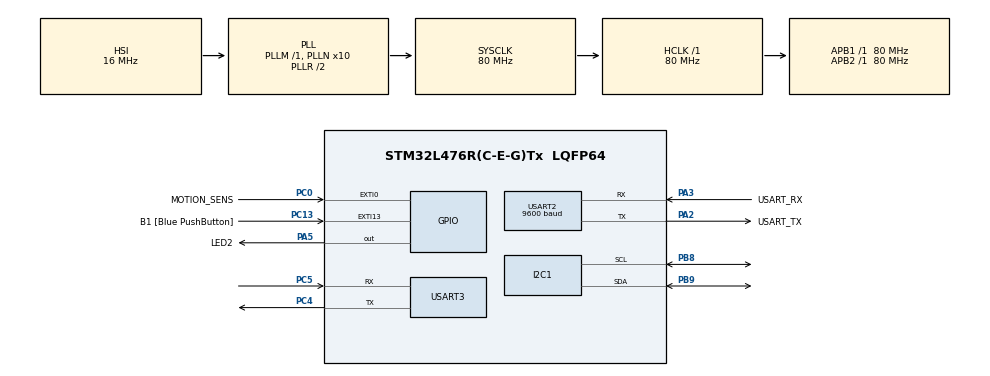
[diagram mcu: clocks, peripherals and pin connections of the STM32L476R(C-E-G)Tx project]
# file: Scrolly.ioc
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Dma.Request0=USART3_RX
Dma.USART3_RX.0.Direction=DMA_PERIPH_TO_MEMORY
Dma.USART3_RX.0.Instance=DMA1_Channel3
Dma.USART3_RX.0.MemDataAlignment=DMA_MDATAALIGN_BYTE
Dma.USART3_RX.0.MemInc=DMA_MINC_ENABLE
Dma.USART3_RX.0.Mode=DMA_NORMAL
Dma.USART3_RX.0.PeriphDataAlignment=DMA_PDATAALIGN_BYTE
Dma.USART3_RX.0.PeriphInc=DMA_PINC_DISABLE
Dma.USART3_RX.0.Priority=DMA_PRIORITY_LOW
I2C1.Timing=0x10D19CE4
Mcu.Family=STM32L4
Mcu.Name=STM32L476R(C-E-G)Tx
Mcu.Package=LQFP64
NVIC.DMA1_Channel3_IRQn=true\:0\:0\:false\:false\:true\:false\:true\:true
NVIC.EXTI0_IRQn=true\:0\:0\:false\:false\:true\:true\:true\:true
NVIC.I2C1_ER_IRQn=true\:0\:0\:false\:false\:true\:true\:true\:true
NVIC.PVD_PVM_IRQn=true\:0\:0\:false\:false\:true\:true\:true\:true
NVIC.PriorityGroup=NVIC_PRIORITYGROUP_4
NVIC.USART2_IRQn=true\:0\:0\:false\:false\:true\:true\:true\:true
PA13\ (JTMS-SWDIO).GPIO_Label=TMS
PA13\ (JTMS-SWDIO).Mode=Serial_Wire
PA13\ (JTMS-SWDIO).Signal=SYS_JTMS-SWDIO
PA14\ (JTCK-SWCLK).GPIO_Label=TCK
PA14\ (JTCK-SWCLK).Mode=Serial_Wire
PA14\ (JTCK-SWCLK).Signal=SYS_JTCK-SWCLK
PA2.GPIO_Label=USART_TX
PA2.GPIO_Mode=GPIO_MODE_AF_PP
PA2.GPIO_PuPd=GPIO_NOPULL
PA2.GPIO_Speed=GPIO_SPEED_FREQ_VERY_HIGH
PA2.Mode=Asynchronous
PA2.Signal=USART2_TX
PA3.GPIO_Label=USART_RX
PA3.GPIO_Mode=GPIO_MODE_AF_PP
PA3.GPIO_PuPd=GPIO_NOPULL
PA3.GPIO_Speed=GPIO_SPEED_FREQ_VERY_HIGH
PA3.Mode=Asynchronous
PA3.Signal=USART2_RX
PA5.GPIO_Label=LED2
PA5.GPIO_ModeDefaultOutputPP=GPIO_MODE_OUTPUT_PP
PA5.GPIO_PuPd=GPIO_NOPULL
PA5.GPIO_Speed=GPIO_SPEED_FREQ_LOW
PA5.Signal=GPIO_Output
PB3\ (JTDO-TRACESWO).GPIO_Label=SWO
PB3\ (JTDO-TRACESWO).Signal=SYS_JTDO-SWO
PB8.GPIO_Pu=GPIO_PULLUP
PB8.Mode=I2C
PB8.Signal=I2C1_SCL
PB9.GPIO_Pu=GPIO_PULLUP
PB9.Mode=I2C
PB9.Signal=I2C1_SDA
PC0.GPIO_Label=MOTION_SENS
PC0.GPIO_ModeDefaultEXTI=GPIO_MODE_IT_RISING_FALLING
PC0.Signal=GPXTI0
PC13.GPIO_Label=B1 [Blue PushButton]
PC13.GPIO_ModeDefaultEXTI=GPIO_MODE_IT_FALLING
PC13.GPIO_PuPd=GPIO_NOPULL
PC13.Signal=GPXTI13
PC14-OSC32_IN\ (PC14).Mode=LSE-External-Oscillator
PC14-OSC32_IN\ (PC14).Signal=RCC_OSC32_IN
PC15-OSC32_OUT\ (PC15).Mode=LSE-External-Oscillator
PC15-OSC32_OUT\ (PC15).Signal=RCC_OSC32_OUT
PC4.Mode=Asynchronous
PC4.Signal=USART3_TX
PC5.Mode=Asynchronous
PC5.Signal=USART3_RX
PH0-OSC_IN\ (PH0).Signal=RCC_OSC_IN
PH1-OSC_OUT\ (PH1).Signal=RCC_OSC_OUT
ProjectManager.HeapSize=0x200
ProjectManager.StackSize=0x400
ProjectManager.TargetToolchain=CMake
RCC.ADCFreq_Value=64000000
RCC.AHBFreq_Value=80000000
RCC.APB1Freq_Value=80000000
RCC.APB1TimFreq_Value=80000000
RCC.APB2Freq_Value=80000000
RCC.APB2TimFreq_Value=80000000
RCC.CortexFreq_Value=80000000
RCC.HCLKFreq_Value=80000000
RCC.HSE_VALUE=8000000
RCC.HSI_VALUE=16000000
RCC.MSI_VALUE=4000000
RCC.PLLN=10
RCC.PLLSourceVirtual=RCC_PLLSOURCE_HSI
RCC.PREFETCH_ENABLE=1
RCC.SYSCLKFreq_VALUE=80000000
RCC.SYSCLKSource=RCC_SYSCLKSOURCE_PLLCLK
RCC.USBFreq_Value=64000000
RCC.VCOOutputFreq_Value=160000000
USART2.BaudRate=9600
USART2.VirtualMode-Asynchronous=VM_ASYNC
USART3.VirtualMode-Asynchronous=VM_ASYNC
board=NUCLEO-L476RG

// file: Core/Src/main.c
/* USER CODE BEGIN Header */
/**
  ******************************************************************************
  * @file           : main.c
  * @brief          : Main program body
  ******************************************************************************
  * @attention
  *
  * Copyright (c) 2026 STMicroelectronics.
  * All rights reserved.
  *
  * This software is licensed under terms that can be found in the LICENSE file
  * in the root directory of this software component.
  * If no LICENSE file comes with this software, it is provided AS-IS.
  *
  ******************************************************************************
  */
/* USER CODE END Header */
#include "main.h"

/* USER CODE BEGIN Includes */
#include "drv_eeprom24xx08.h"
#include "drv_i2clcd.h"
#include "app_comm.h"

#include "stdbool.h"
#include "string.h"
#include "stdio.h"
#include "stdint.h"
/* USER CODE END Includes */

/* USER CODE BEGIN PD */
#define LCD_ROWS 2 // Number of rows on the LCD
#define LCD_COLS 16 // Number of columns on the LCD

// EEPROM definitions - for V1, this will only have block 0 for the message
#define MESSAGE_BLOCK 0 // Block 0 of the EEPROM
#define MESSAGE_START_ADDRESS 0 // Start address of the message in EEPROM
#define MESSAGE_MAX_LENGTH 256 // Size of the one allocated block in EEPROM for messages

#define RING_BUFFER_SIZE 1024
#define MAX_LEN 256
#define MAX_MESSAGE_SIZE 100 // 100 characters maximum message size

#define NO_COMMAND "NO_CMD"
/* USER CODE END PD */

I2C_HandleTypeDef hi2c1;

UART_HandleTypeDef huart2;
UART_HandleTypeDef huart3;
DMA_HandleTypeDef hdma_usart3_rx;

/* USER CODE BEGIN PV */
static bool display = false;
static bool scroll = false;
static bool new_message_ready = false;
static bool motion_detected;
static bool backlight_state = false;
volatile bool eeprom_save_requested = false;
uint8_t I2C_ADDR =0x27; // I2C address of the PCF8574

char message[MAX_MESSAGE_SIZE] = {0}; // char array to store message received
uint8_t uart2_byte; // byte received from UART2
uint8_t buffer_position = 0; // how many bytes received so far in message
static bool last_rx_was_cr = false;

char command[30] = "";

/* USER CODE END PV */

void SystemClock_Config(void);
static void MX_GPIO_Init(void);
static void MX_DMA_Init(void);
static void MX_USART2_UART_Init(void);
static void MX_I2C1_Init(void);
static void MX_USART3_UART_Init(void);
/* USER CODE BEGIN PFP */
void Handle_UART(UART_HandleTypeDef *huart);
char* FindCommand(char *buffer, char *str);
bool StartsWith(const char *str, const char *prefix);
void SplitAndRemove_String(char *str,char *sub);

void LCD_Backlight_On(I2C_HandleTypeDef *hi2c1, uint8_t I2C_ADDR);
void LCD_Backlight_Off(I2C_HandleTypeDef *hi2c1, uint8_t I2C_ADDR);

/* USER CODE END PFP */

int main(void)
{

  /* MCU Configuration--------------------------------------------------------*/

  /* Reset of all peripherals, Initializes the Flash interface and the Systick. */
  HAL_Init();

  /* Configure the system clock */
  SystemClock_Config();

  /* Initialize all configured peripherals */
  MX_GPIO_Init();
  MX_DMA_Init();
  MX_USART2_UART_Init();
  MX_I2C1_Init();
  MX_USART3_UART_Init();
  /* USER CODE BEGIN 2 */

  // DEBUG ONLY - Inject UART struct to app_comm module
  sensorInit(&huart2);

  CharLCD_Init(&hi2c1, I2C_ADDR);
  HAL_StatusTypeDef eeprom_status = HAL_OK;
  HAL_UART_RegisterCallback(&huart2, HAL_UART_RX_COMPLETE_CB_ID, Handle_UART);

  HAL_UART_Receive_IT(&huart2, &uart2_byte, 1); // put byte from UART2 in "uart2_byte"

  PWR_PVDTypeDef sConfigPVD = {0};
  __HAL_RCC_PWR_CLK_ENABLE();

  sConfigPVD.PVDLevel = PWR_PVDLEVEL_3;
  sConfigPVD.Mode = PWR_MODE_IT_RISING_FALLING;
  HAL_PWR_PVDConfig(&sConfigPVD);

  HAL_PWR_EnablePVD();

  // TODO: #25 Fix corrupt read from EEPROM
  eeprom_status = EEPROM_ReadBuffer(&hi2c1);
  HAL_Delay(5);

  if (eeprom_status == HAL_OK) {
    message[0] = '\0';
    new_message_ready = true;
  } else if (eeprom_status != HAL_OK) {
    char *msg = "EEPROM read failed\r\n";
    HAL_UART_Transmit(&huart2, (uint8_t*)msg, strlen(msg), HAL_MAX_DELAY);
  }
  /* USER CODE END 2 */

  /* Infinite loop */
  /* USER CODE BEGIN WHILE */
  while (1)
  {
    if (eeprom_save_requested) { //power has dropped below 2.9V
      eeprom_save_requested = false;
      LCD_Backlight_Off(&hi2c1, I2C_ADDR);
      writeToEEPROM(&hi2c1);
    }

	  if (motion_detected != backlight_state) {
		  if (motion_detected) {
			  LCD_Backlight_On(&hi2c1, I2C_ADDR);
        display = true;
			  backlight_state = motion_detected;
		  } else {
			  LCD_Backlight_Off(&hi2c1, I2C_ADDR);
        CharLCD_Clear(&hi2c1, I2C_ADDR); // Clear the display
        backlight_state = motion_detected;
        continue;
		  }
	  }else if(!motion_detected){
     continue;
    }

	  if (new_message_ready) {
		  new_message_ready = false;
      if (strncmp(message, "add", 3) == 0) {
        SplitAndRemove_String(message, "add");
        add(message, strlen(message));
        //buildMessage();

      } else if (strncmp(message, "rem", 3) == 0) {
        // TODO fix the way rem works
        rem();
      } else if (strncmp(message, "clr", 3) == 0) {
        clr(&hi2c1, I2C_ADDR);
      } else {
        char* msg = "Unrecognized command\r\n\n";
        HAL_UART_Transmit(&huart2, (uint8_t*)msg, strlen(msg), HAL_MAX_DELAY);
      }

      display = true;
      if(needsScroll(LCD_COLS)){
        scroll = true;
      } else {
        scroll = false;
      }
		  memset(message, 0, sizeof(message));
		  buffer_position = 0;
	  }
	  if(display){
      CharLCD_Clear(&hi2c1, I2C_ADDR);
		  if(scroll){ // Check scroll value
        writeScrolling(&hi2c1, I2C_ADDR, LCD_COLS);
        HAL_Delay(500);
		  }else{
        writeNoScroll(&hi2c1, I2C_ADDR);
        display = false;
		  }
	  }

    /* USER CODE END WHILE */

  }
}

void SystemClock_Config(void)
{
  RCC_OscInitTypeDef RCC_OscInitStruct = {0};
  RCC_ClkInitTypeDef RCC_ClkInitStruct = {0};

  /** Configure the main internal regulator output voltage
  */
  if (HAL_PWREx_ControlVoltageScaling(PWR_REGULATOR_VOLTAGE_SCALE1) != HAL_OK)
  {
    Error_Handler();
  }

  /** Initializes the RCC Oscillators according to the specified parameters
  * in the RCC_OscInitTypeDef structure.
  */
  RCC_OscInitStruct.OscillatorType = RCC_OSCILLATORTYPE_HSI;
  RCC_OscInitStruct.HSIState = RCC_HSI_ON;
  RCC_OscInitStruct.HSICalibrationValue = RCC_HSICALIBRATION_DEFAULT;
  RCC_OscInitStruct.PLL.PLLState = RCC_PLL_ON;
  RCC_OscInitStruct.PLL.PLLSource = RCC_PLLSOURCE_HSI;
  RCC_OscInitStruct.PLL.PLLM = 1;
  RCC_OscInitStruct.PLL.PLLN = 10;
  RCC_OscInitStruct.PLL.PLLP = RCC_PLLP_DIV7;
  RCC_OscInitStruct.PLL.PLLQ = RCC_PLLQ_DIV2;
  RCC_OscInitStruct.PLL.PLLR = RCC_PLLR_DIV2;
  if (HAL_RCC_OscConfig(&RCC_OscInitStruct) != HAL_OK)
  {
    Error_Handler();
  }

  /** Initializes the CPU, AHB and APB buses clocks
  */
  RCC_ClkInitStruct.ClockType = RCC_CLOCKTYPE_HCLK|RCC_CLOCKTYPE_SYSCLK
                              |RCC_CLOCKTYPE_PCLK1|RCC_CLOCKTYPE_PCLK2;
  RCC_ClkInitStruct.SYSCLKSource = RCC_SYSCLKSOURCE_PLLCLK;
  RCC_ClkInitStruct.AHBCLKDivider = RCC_SYSCLK_DIV1;
  RCC_ClkInitStruct.APB1CLKDivider = RCC_HCLK_DIV1;
  RCC_ClkInitStruct.APB2CLKDivider = RCC_HCLK_DIV1;

  if (HAL_RCC_ClockConfig(&RCC_ClkInitStruct, FLASH_LATENCY_4) != HAL_OK)
  {
    Error_Handler();
  }
}

static void MX_I2C1_Init(void)
{

  hi2c1.Instance = I2C1;
  hi2c1.Init.Timing = 0x10D19CE4;
  hi2c1.Init.OwnAddress1 = 0;
  hi2c1.Init.AddressingMode = I2C_ADDRESSINGMODE_7BIT;
  hi2c1.Init.DualAddressMode = I2C_DUALADDRESS_DISABLE;
  hi2c1.Init.OwnAddress2 = 0;
  hi2c1.Init.OwnAddress2Masks = I2C_OA2_NOMASK;
  hi2c1.Init.GeneralCallMode = I2C_GENERALCALL_DISABLE;
  hi2c1.Init.NoStretchMode = I2C_NOSTRETCH_DISABLE;
  if (HAL_I2C_Init(&hi2c1) != HAL_OK)
  {
    Error_Handler();
  }

  /** Configure Analogue filter
  */
  if (HAL_I2CEx_ConfigAnalogFilter(&hi2c1, I2C_ANALOGFILTER_ENABLE) != HAL_OK)
  {
    Error_Handler();
  }

  /** Configure Digital filter
  */
  if (HAL_I2CEx_ConfigDigitalFilter(&hi2c1, 0) != HAL_OK)
  {
    Error_Handler();
  }

}

static void MX_USART2_UART_Init(void)
{

  huart2.Instance = USART2;
  huart2.Init.BaudRate = 9600;
  huart2.Init.WordLength = UART_WORDLENGTH_8B;
  huart2.Init.StopBits = UART_STOPBITS_1;
  huart2.Init.Parity = UART_PARITY_NONE;
  huart2.Init.Mode = UART_MODE_TX_RX;
  huart2.Init.HwFlowCtl = UART_HWCONTROL_NONE;
  huart2.Init.OverSampling = UART_OVERSAMPLING_16;
  huart2.Init.OneBitSampling = UART_ONE_BIT_SAMPLE_DISABLE;
  huart2.AdvancedInit.AdvFeatureInit = UART_ADVFEATURE_NO_INIT;
  if (HAL_UART_Init(&huart2) != HAL_OK)
  {
    Error_Handler();
  }

}

static void MX_USART3_UART_Init(void)
{

  huart3.Instance = USART3;
  huart3.Init.BaudRate = 115200;
  huart3.Init.WordLength = UART_WORDLENGTH_8B;
  huart3.Init.StopBits = UART_STOPBITS_1;
  huart3.Init.Parity = UART_PARITY_NONE;
  huart3.Init.Mode = UART_MODE_TX_RX;
  huart3.Init.HwFlowCtl = UART_HWCONTROL_NONE;
  huart3.Init.OverSampling = UART_OVERSAMPLING_16;
  huart3.Init.OneBitSampling = UART_ONE_BIT_SAMPLE_DISABLE;
  huart3.AdvancedInit.AdvFeatureInit = UART_ADVFEATURE_NO_INIT;
  if (HAL_UART_Init(&huart3) != HAL_OK)
  {
    Error_Handler();
  }

}

static void MX_DMA_Init(void)
{

  /* DMA controller clock enable */
  __HAL_RCC_DMA1_CLK_ENABLE();

  /* DMA interrupt init */
  /* DMA1_Channel3_IRQn interrupt configuration */
  HAL_NVIC_SetPriority(DMA1_Channel3_IRQn, 0, 0);
  HAL_NVIC_EnableIRQ(DMA1_Channel3_IRQn);

}

static void MX_GPIO_Init(void)
{
  GPIO_InitTypeDef GPIO_InitStruct = {0};

  /* GPIO Ports Clock Enable */
  __HAL_RCC_GPIOC_CLK_ENABLE();
  __HAL_RCC_GPIOH_CLK_ENABLE();
  __HAL_RCC_GPIOA_CLK_ENABLE();
  __HAL_RCC_GPIOB_CLK_ENABLE();

  /*Configure GPIO pin Output Level */
  HAL_GPIO_WritePin(LED2_GPIO_Port, LED2_Pin, GPIO_PIN_RESET);

  /*Configure GPIO pin : B1_Pin */
  GPIO_InitStruct.Pin = B1_Pin;
  GPIO_InitStruct.Mode = GPIO_MODE_IT_FALLING;
  GPIO_InitStruct.Pull = GPIO_NOPULL;
  HAL_GPIO_Init(B1_GPIO_Port, &GPIO_InitStruct);

  /*Configure GPIO pin : MOTION_SENS_Pin */
  GPIO_InitStruct.Pin = MOTION_SENS_Pin;
  GPIO_InitStruct.Mode = GPIO_MODE_IT_RISING_FALLING;
  GPIO_InitStruct.Pull = GPIO_NOPULL;
  HAL_GPIO_Init(MOTION_SENS_GPIO_Port, &GPIO_InitStruct);

  /*Configure GPIO pin : LED2_Pin */
  GPIO_InitStruct.Pin = LED2_Pin;
  GPIO_InitStruct.Mode = GPIO_MODE_OUTPUT_PP;
  GPIO_InitStruct.Pull = GPIO_NOPULL;
  GPIO_InitStruct.Speed = GPIO_SPEED_FREQ_LOW;
  HAL_GPIO_Init(LED2_GPIO_Port, &GPIO_InitStruct);

  /* EXTI interrupt init*/
  HAL_NVIC_SetPriority(EXTI0_IRQn, 0, 0);
  HAL_NVIC_EnableIRQ(EXTI0_IRQn);

}

/* USER CODE BEGIN 4 */

/**
 * @brief Handles UART reception and processes incoming bytes.
 * @param huart Pointer to the UART handle struct.
 */
void Handle_UART(UART_HandleTypeDef *huart){
	if (huart->Instance != USART2) return;

  // backspace handler
	if (uart2_byte == '\b' || uart2_byte == 0x7F) {
		if (buffer_position > 0) {
			buffer_position--;
			message[buffer_position] = '\0';
			HAL_UART_Transmit(&huart2, (uint8_t*)"\b \b", 3, HAL_MAX_DELAY);
		}
		last_rx_was_cr = false;
		HAL_UART_Receive_IT(&huart2, &uart2_byte, 1);
		return;
	}

  // carriage return
	if (uart2_byte == '\r') {
		HAL_UART_Transmit(&huart2, (uint8_t*)"\r\n", 2, HAL_MAX_DELAY);
		if (buffer_position > 0) {
			message[buffer_position] = '\0';
			new_message_ready = true;
		}
		last_rx_was_cr = true;
		HAL_UART_Receive_IT(&huart2, &uart2_byte, 1);
		return;
	}

  // newline
	if (uart2_byte == '\n') {
		if (!last_rx_was_cr) {
			HAL_UART_Transmit(&huart2, (uint8_t*)"\r\n", 2, HAL_MAX_DELAY);
			if (buffer_position > 0) {
				message[buffer_position] = '\0';
				new_message_ready = true;
			}
		}
		last_rx_was_cr = false;
		HAL_UART_Receive_IT(&huart2, &uart2_byte, 1);
		return;
	}

  // null terminator - end of string
	if (uart2_byte == '\0') {
		last_rx_was_cr = false;
		HAL_UART_Receive_IT(&huart2, &uart2_byte, 1);
		return;
	}

  // echo byte back to sender
	HAL_UART_Transmit(&huart2, &uart2_byte, 1, HAL_MAX_DELAY);

  // append to message buffer
	if (buffer_position < MAX_MESSAGE_SIZE - 1){
		message[buffer_position++] = uart2_byte;
	}
	last_rx_was_cr = false;
	HAL_UART_Receive_IT(&huart2, &uart2_byte, 1);
}

/**
 * @brief Splits a string and removes a specified substring from it.
 * @param str The original string to modify.
 * @param sub The substring to remove from the original string.
 */
void SplitAndRemove_String(char *str, char *sub) {
    char new_sub[32];
    snprintf(new_sub, sizeof(new_sub), "%s ", sub);

    char *pos = strstr(str, new_sub);
    if (pos != NULL) {
        size_t sub_len = strlen(new_sub);
        memmove(pos, pos + sub_len, strlen(pos + sub_len) + 1);
    }
}

/**
 * @brief Callback function for GPIO external interrupts.
 * @param GPIO_Pin The pin that triggered the interrupt.
 */
void HAL_GPIO_EXTI_Callback(uint16_t GPIO_Pin){
	if(GPIO_Pin == MOTION_SENS_Pin){
		if(HAL_GPIO_ReadPin(MOTION_SENS_GPIO_Port, MOTION_SENS_Pin) == GPIO_PIN_SET){
			motion_detected = true;
		}else{
			motion_detected = false;
		}
	}
}

/**
 * @brief Callack function for Power Voltage Detection (PVD) interrupts. Triggers when voltage drops below 2.9V
 */
void HAL_PWR_PVDCallback(void){
  eeprom_save_requested = true;
}

/* USER CODE END 4 */

void Error_Handler(void)
{
  /* USER CODE BEGIN Error_Handler_Debug */
  /* User can add his own implementation to report the HAL error return state */
  __disable_irq();
  while (1)
  {
	  //TODO: Add error handler that writes to LCD with error
  }
  /* USER CODE END Error_Handler_Debug */
}
